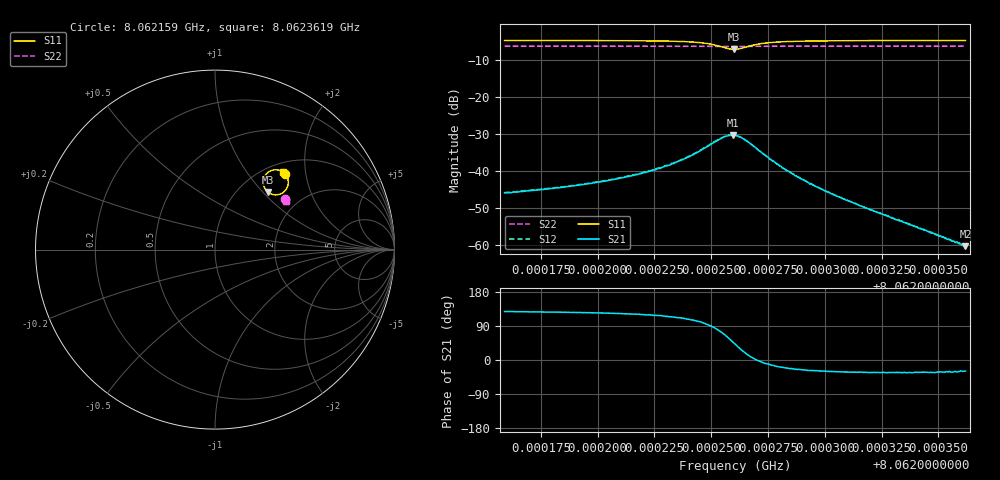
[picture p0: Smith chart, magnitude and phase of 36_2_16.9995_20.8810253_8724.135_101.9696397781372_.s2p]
#  HZ  S  RI  R  50.00
! Rohde & Schwarz Vector Network Analyzer
! Rohde-Schwarz,ZNB20-2Port,1311601062101988,3.16
! Created: UTC 3/20/2024, 10:53:42 PM
! freq[Hz]  re:S11  im:S11  re:S21  im:S21  re:S12  im:S12  re:S22  im:S22
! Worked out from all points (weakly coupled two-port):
!   401 points, 8.062159 GHz to 8.0623619 GHz, reference 50 ohm
!   highest |S21| = -30.40 dB at 8.0622594 GHz (marker M1); lowest = -60.4 dB at 8.0623619 GHz (marker M2)
!   lowest |S11| = -7.2 dB at 8.0622599 GHz (marker M3), VSWR 2.54, Z = 67.1 + j53.3 ohm
!   |S11| at or under -10 dB: nowhere
!   |S22| runs from -6.5 to -6.3 dB; largest |S21 - S12| = 0.0027
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8.06215904e9  0.389 0.4234  -0.00309 0.00396  -0.00285 0.00419  0.391 0.2817
8.06217679e9  0.3919 0.4202  -0.00334 0.00454  -0.00313 0.00479  0.3917 0.2806
8.06219302e9  0.3952 0.4162  -0.00374 0.00531  -0.00343 0.0056  0.3922 0.2797
8.06221279e9  0.4003 0.4075  -0.00437 0.00699  -0.00398 0.0074  0.3928 0.2782
8.06222699e9  0.4054 0.3955  -0.00493 0.0096  -0.00442 0.01  0.3934 0.2771
8.06223966e9  0.4084 0.372  -0.00472 0.0145  -0.00384 0.0149  0.3936 0.2755
8.06224828e9  0.3979 0.338  -0.00137 0.0212  0.0002 0.0217  0.3927 0.2738
8.06225488e9  0.3545 0.3069  0.00886 0.0264  0.0111 0.0259  0.3907 0.273
8.0622569e9  0.3301 0.3053  0.0139 0.0259  0.0163 0.025  0.3896 0.2732
8.06225944e9  0.2983 0.3175  0.0203 0.0223  0.0222 0.0207  0.3888 0.2741
8.06225995e9  0.2927 0.3218  0.0214 0.0212  0.0232 0.0196  0.3886 0.2742
8.06226045e9  0.2876 0.3267  0.0222 0.0201  0.024 0.0182  0.3885 0.2747
8.06226248e9  0.2731 0.3498  0.0247 0.0147  0.0258 0.0126  0.3885 0.2757
8.06226502e9  0.2687 0.3801  0.0247 0.00818  0.0251 0.00622  0.3888 0.2769
8.06227212e9  0.2956 0.4302  0.0176 -0.00165  0.0173 -0.00282  0.3908 0.278
8.06228226e9  0.3305 0.4444  0.00992 -0.00368  0.00964 -0.00429  0.3927 0.2777
8.06229443e9  0.3509 0.4438  0.00577 -0.00302  0.00557 -0.00338  0.3939 0.2768
8.06230761e9  0.3622 0.4407  0.0036 -0.0022  0.0035 -0.00244  0.3947 0.2758
8.0623284e9  0.3716 0.4366  0.002 -0.00129  0.00191 -0.00141  0.3957 0.2746
8.06235426e9  0.3779 0.4329  0.00102 -0.000624  0.00102 -0.000673  0.3967 0.2732
8.06235679e9  0.3782 0.4326  0.000959 -0.000579  0.000917 -0.000647  0.3967 0.2731
8.06236186e9  0.3791 0.4321  0.000833 -0.000469  0.00081 -0.000536  0.3969 0.2728
